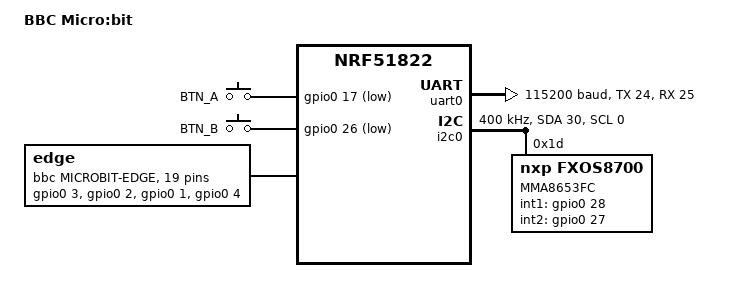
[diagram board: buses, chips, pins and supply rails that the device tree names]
/*
 * Copyright (c) 2017 Linaro Limited
 *
 * SPDX-License-Identifier: Apache-2.0
 */

/dts-v1/;
#include <nordic/nrf51822_qfaa.dtsi>

/ {
	model = "BBC Micro:bit";
	compatible = "bbc,microbit", "nordic,nrf51822-qfaa", "nordic,nrf51822";

	/* These aliases are provided for compatibility with samples */
	aliases {
		sw0 = &buttonA;
		sw1 = &buttonB;
	};

	chosen {
		zephyr,console = &uart0;
		zephyr,shell-uart = &uart0;
		zephyr,bt-mon-uart = &uart0;
		zephyr,bt-c2h-uart = &uart0;
		zephyr,sram = &sram0;
		zephyr,flash = &flash0;
		zephyr,code-partition = &slot0_partition;
	};

	gpio_keys {
		compatible = "gpio-keys";
		buttonA: button_0 {
			label = "BTN_A";
			gpios = <&gpio0 17 GPIO_INT_ACTIVE_LOW>;
		};

		buttonB: button_1 {
			label = "BTN_B";
			gpios = <&gpio0 26 GPIO_INT_ACTIVE_LOW>;
		};
	};

	/* External edge connector pin mappings to nRF51 GPIO pin numbers.
	* More information:
	* https://www.microbit.co.uk/device/pins
	* https://github.com/microbit-foundation/microbit-reference-design/tree/master/PDF/Schematic%20Print
	*/
	edge: connector {
		compatible = "bbc,microbit-edge";
		#gpio-cells = <2>;
		gpio-map = <0  0 &gpio0 3  0>, /* P0, Analog in */
				<1  0 &gpio0 2  0>, /* P1, Analog in */
				<2  0 &gpio0 1  0>, /* P2, Analog in */
				<3  0 &gpio0 4  0>, /* P3, Analog in, LED Col 1 */
				<4  0 &gpio0 5  0>, /* P4, Analog in, LED Col 2 */
				<5  0 &gpio0 17 0>, /* P5, Button A */
				<6  0 &gpio0 12 0>, /* P6, LED Col 9 */
				<7  0 &gpio0 11 0>, /* P7, LED Col 8 */
				<8  0 &gpio0 18 0>, /* P8 */
				<9  0 &gpio0 10 0>, /* P9, LED Col 7 */
				<10 0 &gpio0 6  0>, /* P10, Analog in, LED Col 3 */
				<11 0 &gpio0 26 0>, /* P11, Button B */
				<12 0 &gpio0 20 0>, /* P12 */
				<13 0 &gpio0 23 0>, /* P13, SPI1 SCK */
				<14 0 &gpio0 22 0>, /* P14, SPI1 MISO */
				<15 0 &gpio0 21 0>, /* P15, SPI1 MOSI */
				<16 0 &gpio0 16 0>, /* P16 */
				<19 0 &gpio0 0  0>, /* P19, I2C1 SCL */
				<20 0 &gpio0 30 0>; /* P20, I2C1 SDA */
	};
};

&gpiote {
	status = "okay";
};

&gpio0 {
	status = "okay";
};

&uart0 {
	status = "okay";
	current-speed = <115200>;
	tx-pin = <24>;
	rx-pin = <25>;
};

&i2c0 {
	status = "okay";
	clock-frequency = <I2C_BITRATE_FAST>;
	sda-pin = <30>;
	scl-pin = <0>;

	mma8653fc@1d {
		compatible = "nxp,fxos8700","nxp,mma8653fc";
		reg = <0x1d>;
		label = "MMA8653FC";
		int1-gpios = <&gpio0 28 0>;
		int2-gpios = <&gpio0 27 0>;
	};
};

&flash0 {
	/*
	 * For more information, see:
	 * http://docs.zephyrproject.org/latest/guides/dts/index.html#flash-partitions
	 */
	partitions {
		compatible = "fixed-partitions";
		#address-cells = <1>;
		#size-cells = <1>;

		boot_partition: partition@0 {
			label = "mcuboot";
			reg = <0x00000000 0x8000>;
		};
		slot0_partition: partition@8000 {
			label = "image-0";
			reg = <0x00008000 0x1a000>;
		};
		slot1_partition: partition@22000 {
			label = "image-1";
			reg = <0x00022000 0x1a000>;
		};
		scratch_partition: partition@3c000 {
			label = "image-scratch";
			reg = <0x0003c000 0x2000>;
		};
		storage_partition: partition@3e000 {
			label = "storage";
			reg = <0x0003e000 0x00002000>;
		};
	};
};
